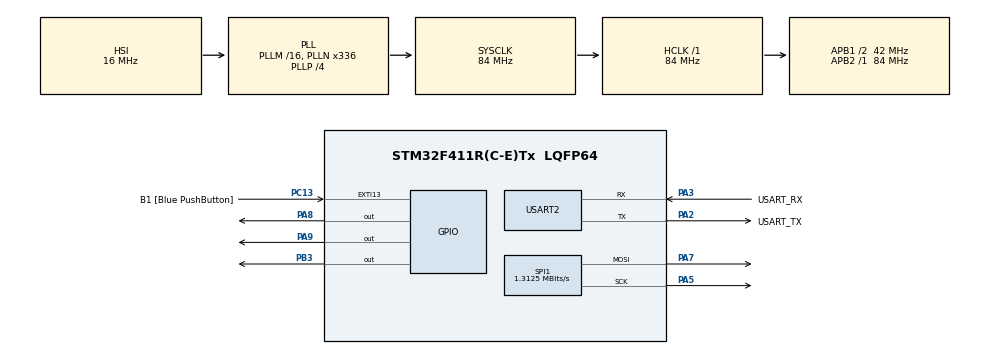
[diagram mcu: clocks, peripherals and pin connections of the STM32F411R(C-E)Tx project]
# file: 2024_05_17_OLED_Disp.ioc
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Mcu.Family=STM32F4
Mcu.Name=STM32F411R(C-E)Tx
Mcu.Package=LQFP64
NVIC.PriorityGroup=NVIC_PRIORITYGROUP_0
PA13.GPIO_Label=TMS
PA13.Mode=Serial_Wire
PA13.Signal=SYS_JTMS-SWDIO
PA14.GPIO_Label=TCK
PA14.Mode=Serial_Wire
PA14.Signal=SYS_JTCK-SWCLK
PA2.GPIO_Label=USART_TX
PA2.Mode=Asynchronous
PA2.Signal=USART2_TX
PA3.GPIO_Label=USART_RX
PA3.Mode=Asynchronous
PA3.Signal=USART2_RX
PA5.Mode=TX_Only_Simplex_Unidirect_Master
PA5.Signal=SPI1_SCK
PA7.Mode=TX_Only_Simplex_Unidirect_Master
PA7.Signal=SPI1_MOSI
PA8.Signal=GPIO_Output
PA9.Signal=GPIO_Output
PB3.Signal=GPIO_Output
PC13-ANTI_TAMP.GPIO_Label=B1 [Blue PushButton]
PC13-ANTI_TAMP.GPIO_ModeDefaultEXTI=GPIO_MODE_IT_FALLING
PC13-ANTI_TAMP.Signal=GPXTI13
PC14-OSC32_IN.Mode=LSE-External-Oscillator
PC14-OSC32_IN.Signal=RCC_OSC32_IN
PC15-OSC32_OUT.Mode=LSE-External-Oscillator
PC15-OSC32_OUT.Signal=RCC_OSC32_OUT
PH0\ -\ OSC_IN.Mode=HSE-External-Clock-Source
PH0\ -\ OSC_IN.Signal=RCC_OSC_IN
PH1\ -\ OSC_OUT.Mode=HSE-External-Clock-Source
PH1\ -\ OSC_OUT.Signal=RCC_OSC_OUT
ProjectManager.HeapSize=0x200
ProjectManager.StackSize=0x400
ProjectManager.TargetToolchain=STM32CubeIDE
RCC.48MHZClocksFreq_Value=84000000
RCC.AHBFreq_Value=84000000
RCC.APB1CLKDivider=RCC_HCLK_DIV2
RCC.APB1Freq_Value=42000000
RCC.APB1TimFreq_Value=84000000
RCC.APB2Freq_Value=84000000
RCC.APB2TimFreq_Value=84000000
RCC.CortexFreq_Value=84000000
RCC.FLatency-AdvancedSettings=FLASH_LATENCY_2
RCC.HCLKFreq_Value=84000000
RCC.HSE_VALUE=8000000
RCC.HSI_VALUE=16000000
RCC.PLLN=336
RCC.PLLP=RCC_PLLP_DIV4
RCC.SYSCLKFreq_VALUE=84000000
RCC.SYSCLKSource=RCC_SYSCLKSOURCE_PLLCLK
RCC.VCOOutputFreq_Value=336000000
SPI1.BaudRatePrescaler=SPI_BAUDRATEPRESCALER_64
SPI1.CalculateBaudRate=1.3125 MBits/s
SPI1.Direction=SPI_DIRECTION_2LINES
SPI1.Mode=SPI_MODE_MASTER
SPI1.VirtualType=VM_MASTER
USART2.VirtualMode=VM_ASYNC
board=NUCLEO-F411RE

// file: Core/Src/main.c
/* USER CODE BEGIN Header */
/**
  ******************************************************************************
  * @file           : main.c
  * @brief          : Main program body
  ******************************************************************************
  * @attention
  *
  * Copyright (c) 2024 STMicroelectronics.
  * All rights reserved.
  *
  * This software is licensed under terms that can be found in the LICENSE file
  * in the root directory of this software component.
  * If no LICENSE file comes with this software, it is provided AS-IS.
  *
  ******************************************************************************
  */
/* USER CODE END Header */
#include "main.h"

/* USER CODE BEGIN Includes */
#include "delay.h"
#include "oled.h"
#include "test.h"
#include "bitmap.h"
#include "horse_anim.h"
#include "stdio.h"
/* USER CODE END Includes */

SPI_HandleTypeDef hspi1;

UART_HandleTypeDef huart2;

void SystemClock_Config(void);
static void MX_GPIO_Init(void);
static void MX_USART2_UART_Init(void);
static void MX_SPI1_Init(void);

/* USER CODE BEGIN 0 */
char zz[10];
/* USER CODE END 0 */

int main(void)
{

  /* MCU Configuration--------------------------------------------------------*/

  /* Reset of all peripherals, Initializes the Flash interface and the Systick. */
  HAL_Init();

  /* Configure the system clock */
  SystemClock_Config();

  /* Initialize all configured peripherals */
  MX_GPIO_Init();
  MX_USART2_UART_Init();
  MX_SPI1_Init();
  /* USER CODE BEGIN 2 */
	SSD1306_Init();
	SSD1306_GotoXY (0,0);

	SSD1306_Puts ("Embedded", &Font_7x10, 1);

	SSD1306_GotoXY (0, 10);

	SSD1306_Puts ("Expret.io", &Font_7x10, 1);

	SSD1306_GotoXY (0, 30);

	SSD1306_Puts ("OLED Display", &Font_7x10, 1);

	SSD1306_GotoXY (0, 50);

	SSD1306_Puts ("Bare Metal Code", &Font_7x10, 1);

	SSD1306_UpdateScreen(); //display

	delay (2000);

	SSD1306_ScrollRight(0,7);  // scroll entire screen

	delay(2000);  // 2 sec

	SSD1306_ScrollLeft(0,7);  // scroll entire screen

	delay(2000);  // 2 sec

	SSD1306_Stopscroll();

	SSD1306_ScrollRight(0x00, 0x0f);    // scroll entire screen right

	delay (2000);

	SSD1306_ScrollLeft(0x00, 0x0f);  // scroll entire screen left

	delay (2000);

	SSD1306_Scrolldiagright(0x00, 0x0f);  // scroll entire screen diagonal right

	delay (2000);

	SSD1306_Scrolldiagleft(0x00, 0x0f);  // scroll entire screen diagonal left

	delay (2000);

	SSD1306_Stopscroll();   // stop scrolling. If not done, screen will keep on scrolling

	SSD1306_InvertDisplay(1);   // invert the display

	delay(2000);

	SSD1306_InvertDisplay(0);  // normalize the display

	delay(2000);
	SSD1306_Clear();
	SSD1306_GotoXY (0,0);
	SSD1306_Puts ("variable", &Font_7x10, 1);
	SSD1306_UpdateScreen();

	for (int i=0; i<100;i++)
	{
	sprintf(zz,"%i",i);
	SSD1306_GotoXY (10, 30);
	SSD1306_Puts (zz, &Font_7x10, 1);
	SSD1306_UpdateScreen();
	delay(100);
	}
  /* USER CODE END 2 */

  /* Infinite loop */
  while (1)
  {

    /* USER CODE BEGIN 3 */
		SSD1306_Clear();
		SSD1306_DrawBitmap(0,0,horse1,128,64,1);
		SSD1306_UpdateScreen();
		delay(1);

		SSD1306_Clear();
		SSD1306_DrawBitmap(0,0,horse2,128,64,1);
		SSD1306_UpdateScreen();
		delay(1);

		SSD1306_Clear();
		SSD1306_DrawBitmap(0,0,horse3,128,64,1);
		SSD1306_UpdateScreen();
		delay(1);

		SSD1306_Clear();
		SSD1306_DrawBitmap(0,0,horse4,128,64,1);
		SSD1306_UpdateScreen();
		delay(1);

		SSD1306_Clear();
		SSD1306_DrawBitmap(0,0,horse5,128,64,1);
		SSD1306_UpdateScreen();
		delay(1);

		SSD1306_Clear();
		SSD1306_DrawBitmap(0,0,horse6,128,64,1);
		SSD1306_UpdateScreen();
		delay(1);

		SSD1306_Clear();
		SSD1306_DrawBitmap(0,0,horse7,128,64,1);
		SSD1306_UpdateScreen();
		delay(1);

		SSD1306_Clear();
		SSD1306_DrawBitmap(0,0,horse8,128,64,1);
		SSD1306_UpdateScreen();
		delay(1);

		SSD1306_Clear();
		SSD1306_DrawBitmap(0,0,horse9,128,64,1);
		SSD1306_UpdateScreen();
		delay(1);

		SSD1306_Clear();
		SSD1306_DrawBitmap(0,0,horse10,128,64,1);
		SSD1306_UpdateScreen();
		delay(1);
  }
  /* USER CODE END 3 */
}

void SystemClock_Config(void)
{
  RCC_OscInitTypeDef RCC_OscInitStruct = {0};
  RCC_ClkInitTypeDef RCC_ClkInitStruct = {0};

  /** Configure the main internal regulator output voltage
  */
  __HAL_RCC_PWR_CLK_ENABLE();
  __HAL_PWR_VOLTAGESCALING_CONFIG(PWR_REGULATOR_VOLTAGE_SCALE1);

  /** Initializes the RCC Oscillators according to the specified parameters
  * in the RCC_OscInitTypeDef structure.
  */
  RCC_OscInitStruct.OscillatorType = RCC_OSCILLATORTYPE_HSI;
  RCC_OscInitStruct.HSIState = RCC_HSI_ON;
  RCC_OscInitStruct.HSICalibrationValue = RCC_HSICALIBRATION_DEFAULT;
  RCC_OscInitStruct.PLL.PLLState = RCC_PLL_ON;
  RCC_OscInitStruct.PLL.PLLSource = RCC_PLLSOURCE_HSI;
  RCC_OscInitStruct.PLL.PLLM = 16;
  RCC_OscInitStruct.PLL.PLLN = 336;
  RCC_OscInitStruct.PLL.PLLP = RCC_PLLP_DIV4;
  RCC_OscInitStruct.PLL.PLLQ = 4;
  if (HAL_RCC_OscConfig(&RCC_OscInitStruct) != HAL_OK)
  {
    Error_Handler();
  }

  /** Initializes the CPU, AHB and APB buses clocks
  */
  RCC_ClkInitStruct.ClockType = RCC_CLOCKTYPE_HCLK|RCC_CLOCKTYPE_SYSCLK
                              |RCC_CLOCKTYPE_PCLK1|RCC_CLOCKTYPE_PCLK2;
  RCC_ClkInitStruct.SYSCLKSource = RCC_SYSCLKSOURCE_PLLCLK;
  RCC_ClkInitStruct.AHBCLKDivider = RCC_SYSCLK_DIV1;
  RCC_ClkInitStruct.APB1CLKDivider = RCC_HCLK_DIV2;
  RCC_ClkInitStruct.APB2CLKDivider = RCC_HCLK_DIV1;

  if (HAL_RCC_ClockConfig(&RCC_ClkInitStruct, FLASH_LATENCY_2) != HAL_OK)
  {
    Error_Handler();
  }
}

static void MX_SPI1_Init(void)
{

  /* SPI1 parameter configuration*/
  hspi1.Instance = SPI1;
  hspi1.Init.Mode = SPI_MODE_MASTER;
  hspi1.Init.Direction = SPI_DIRECTION_2LINES;
  hspi1.Init.DataSize = SPI_DATASIZE_8BIT;
  hspi1.Init.CLKPolarity = SPI_POLARITY_LOW;
  hspi1.Init.CLKPhase = SPI_PHASE_1EDGE;
  hspi1.Init.NSS = SPI_NSS_SOFT;
  hspi1.Init.BaudRatePrescaler = SPI_BAUDRATEPRESCALER_64;
  hspi1.Init.FirstBit = SPI_FIRSTBIT_MSB;
  hspi1.Init.TIMode = SPI_TIMODE_DISABLE;
  hspi1.Init.CRCCalculation = SPI_CRCCALCULATION_DISABLE;
  hspi1.Init.CRCPolynomial = 10;
  if (HAL_SPI_Init(&hspi1) != HAL_OK)
  {
    Error_Handler();
  }

}

static void MX_USART2_UART_Init(void)
{

  huart2.Instance = USART2;
  huart2.Init.BaudRate = 115200;
  huart2.Init.WordLength = UART_WORDLENGTH_8B;
  huart2.Init.StopBits = UART_STOPBITS_1;
  huart2.Init.Parity = UART_PARITY_NONE;
  huart2.Init.Mode = UART_MODE_TX_RX;
  huart2.Init.HwFlowCtl = UART_HWCONTROL_NONE;
  huart2.Init.OverSampling = UART_OVERSAMPLING_16;
  if (HAL_UART_Init(&huart2) != HAL_OK)
  {
    Error_Handler();
  }

}

static void MX_GPIO_Init(void)
{
  GPIO_InitTypeDef GPIO_InitStruct = {0};

  /* GPIO Ports Clock Enable */
  __HAL_RCC_GPIOC_CLK_ENABLE();
  __HAL_RCC_GPIOH_CLK_ENABLE();
  __HAL_RCC_GPIOA_CLK_ENABLE();
  __HAL_RCC_GPIOB_CLK_ENABLE();

  /*Configure GPIO pin Output Level */
  HAL_GPIO_WritePin(GPIOA, GPIO_PIN_8|GPIO_PIN_9, GPIO_PIN_RESET);

  /*Configure GPIO pin Output Level */
  HAL_GPIO_WritePin(GPIOB, GPIO_PIN_3, GPIO_PIN_RESET);

  /*Configure GPIO pin : B1_Pin */
  GPIO_InitStruct.Pin = B1_Pin;
  GPIO_InitStruct.Mode = GPIO_MODE_IT_FALLING;
  GPIO_InitStruct.Pull = GPIO_NOPULL;
  HAL_GPIO_Init(B1_GPIO_Port, &GPIO_InitStruct);

  /*Configure GPIO pins : PA8 PA9 */
  GPIO_InitStruct.Pin = GPIO_PIN_8|GPIO_PIN_9;
  GPIO_InitStruct.Mode = GPIO_MODE_OUTPUT_PP;
  GPIO_InitStruct.Pull = GPIO_NOPULL;
  GPIO_InitStruct.Speed = GPIO_SPEED_FREQ_LOW;
  HAL_GPIO_Init(GPIOA, &GPIO_InitStruct);

  /*Configure GPIO pin : PB3 */
  GPIO_InitStruct.Pin = GPIO_PIN_3;
  GPIO_InitStruct.Mode = GPIO_MODE_OUTPUT_PP;
  GPIO_InitStruct.Pull = GPIO_NOPULL;
  GPIO_InitStruct.Speed = GPIO_SPEED_FREQ_LOW;
  HAL_GPIO_Init(GPIOB, &GPIO_InitStruct);

}

void Error_Handler(void)
{
  __disable_irq();
  while (1)
  {
  }
}
